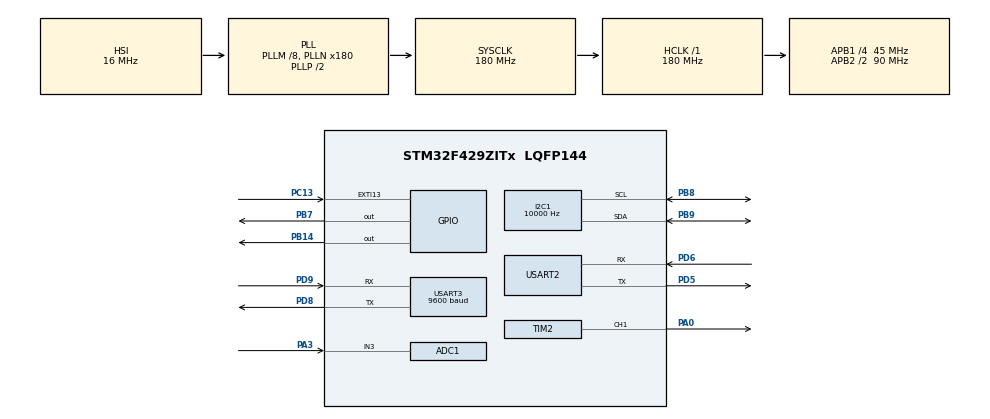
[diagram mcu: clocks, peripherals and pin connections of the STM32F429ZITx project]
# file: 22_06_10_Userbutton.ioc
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ADC1.Channel-0\#ChannelRegularConversion=ADC_CHANNEL_3
ADC1.NbrOfConversionFlag=1
ADC1.Rank-0\#ChannelRegularConversion=1
ADC1.SamplingTime-0\#ChannelRegularConversion=ADC_SAMPLETIME_3CYCLES
ADC1.master=1
I2C1.ClockSpeed=10000
Mcu.Family=STM32F4
Mcu.Name=STM32F429ZITx
Mcu.Package=LQFP144
NVIC.EXTI15_10_IRQn=true\:0\:0\:false\:true\:true\:2\:true\:true\:true
NVIC.PriorityGroup=NVIC_PRIORITYGROUP_4
NVIC.TIM3_IRQn=true\:0\:0\:false\:false\:true\:true\:true\:true
NVIC.USART3_IRQn=true\:0\:0\:false\:true\:true\:1\:true\:true\:true
PA0/WKUP.Signal=S_TIM2_CH1_ETR
PA13.Mode=Serial_Wire
PA13.Signal=SYS_JTMS-SWDIO
PA14.Mode=Serial_Wire
PA14.Signal=SYS_JTCK-SWCLK
PA3.Signal=ADCx_IN3
PB14.Signal=GPIO_Output
PB7.Signal=GPIO_Output
PB8.GPIO_Pu=GPIO_PULLUP
PB8.Mode=I2C
PB8.Signal=I2C1_SCL
PB9.GPIO_Pu=GPIO_PULLUP
PB9.Mode=I2C
PB9.Signal=I2C1_SDA
PC13.GPIO_ModeDefaultEXTI=GPIO_MODE_IT_RISING_FALLING
PC13.Signal=GPXTI13
PC14/OSC32_IN.Mode=LSE-External-Oscillator
PC14/OSC32_IN.Signal=RCC_OSC32_IN
PC15/OSC32_OUT.Mode=LSE-External-Oscillator
PC15/OSC32_OUT.Signal=RCC_OSC32_OUT
PD5.Mode=Asynchronous
PD5.Signal=USART2_TX
PD6.Mode=Asynchronous
PD6.Signal=USART2_RX
PD8.Mode=Asynchronous
PD8.Signal=USART3_TX
PD9.Mode=Asynchronous
PD9.Signal=USART3_RX
ProjectManager.HeapSize=0x200
ProjectManager.StackSize=0x400
ProjectManager.TargetToolchain=STM32CubeIDE
RCC.48MHZClocksFreq_Value=90000000
RCC.AHBFreq_Value=180000000
RCC.APB1CLKDivider=RCC_HCLK_DIV4
RCC.APB1Freq_Value=45000000
RCC.APB1TimFreq_Value=90000000
RCC.APB2CLKDivider=RCC_HCLK_DIV2
RCC.APB2Freq_Value=90000000
RCC.APB2TimFreq_Value=180000000
RCC.CortexFreq_Value=180000000
RCC.HCLKFreq_Value=180000000
RCC.HSE_VALUE=25000000
RCC.HSI_VALUE=16000000
RCC.PLLM=8
RCC.PLLN=180
RCC.RCC_RTC_Clock_Source=RCC_RTCCLKSOURCE_LSE
RCC.RCC_RTC_Clock_SourceVirtual=RCC_RTCCLKSOURCE_LSE
RCC.SYSCLKFreq_VALUE=180000000
RCC.SYSCLKSource=RCC_SYSCLKSOURCE_PLLCLK
RCC.VCOOutputFreq_Value=360000000
RTC.Format=RTC_FORMAT_BIN
RTC.HourFormat=RTC_HOURFORMAT_12
SH.ADCx_IN3.0=ADC1_IN3,IN3
SH.S_TIM2_CH1_ETR.0=TIM2_CH1,PWM Generation1 CH1
TIM2.Channel-PWM\ Generation1\ CH1=TIM_CHANNEL_1
TIM2.CounterMode=TIM_COUNTERMODE_DOWN
TIM2.Period=1000-1
TIM2.Prescaler=180-1
TIM3.Period=900
TIM3.Prescaler=10000
USART2.VirtualMode=VM_ASYNC
USART3.BaudRate=9600
USART3.VirtualMode=VM_ASYNC
VP_RTC_VS_RTC_Activate.Mode=RTC_Enabled
VP_RTC_VS_RTC_Calendar.Mode=RTC_Calendar
VP_TIM2_VS_ClockSourceINT.Mode=Internal
VP_TIM3_VS_ClockSourceINT.Mode=Internal
board=custom

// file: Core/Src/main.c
/* USER CODE BEGIN Header */
/**
 ******************************************************************************
 * @file           : main.c
 * @brief          : Main program body
 ******************************************************************************
 * @attention
 *
 * Copyright (c) 2022 STMicroelectronics.
 * All rights reserved.
 *
 * This software is licensed under terms that can be found in the LICENSE file
 * in the root directory of this software component.
 * If no LICENSE file comes with this software, it is provided AS-IS.
 *
 ******************************************************************************
 */
/* USER CODE END Header */
#include "main.h"
#include "adc.h"
#include "i2c.h"
#include "rtc.h"
#include "tim.h"
#include "usart.h"
#include "gpio.h"

/* USER CODE BEGIN PTD */
typedef struct {
	int time;
	uint8_t level;
} ClickInfoDef;

typedef struct {
	uint8_t f;
	uint8_t h;
	uint8_t m;
	uint8_t s;
} SETTIME;

typedef struct FLAHTIME {
	uint8_t year;
	uint8_t month;
	uint8_t day;
	uint8_t format;
	uint8_t hour;
	uint8_t minutes;
	uint8_t seconds;
	uint8_t alarmFormat;
	uint8_t alarmHour;
	uint8_t alarmMinutes;
	uint8_t alarmSeconds;

} FT;

FT flashTime;
FT flashTime2;
/* USER CODE END PTD */

/* USER CODE BEGIN PD */
//EXTI
#define LONG_CLICK_MIN 700
#define LONG_CLICK_MAX 5000
#define DOUBLE_CLICK_MIN 40
#define DOUBLE_CLICK_MAX 120
//ADC
#define UP_KEY_MIN 0
#define UP_KEY_MAX 15
#define DOWN_KEY_MIN 830
#define DOWN_KEY_MAX 870
#define LEFT_KEY_MIN 1910
#define LEFT_KEY_MAX 1960
#define RIGHT_KEY_MIN 2920
#define RIGHT_KEY_MAX 3010
//LCD
#define LCD_ADDR (0x27 << 1)
#define PIN_RS    (1 << 0)
#define PIN_EN    (1 << 2)
#define BACKLIGHT (1 << 3)
#define LCD_DELAY_MS 5

// flash memory
#define FLASH_USER_START_ADDR   ADDR_FLASH_SECTOR_12   /* Start @ of user Flash area */
/* End @ of user Flash area : sector start address + sector size -1 */
#define FLASH_USER_END_ADDR     ADDR_FLASH_SECTOR_23  +  GetSectorSize(ADDR_FLASH_SECTOR_23) - 1
#define DATA_32                 ((uint32_t)0x00001011) // ?��?��?�� 메모�? 매직 ?���?, 초기 값으�? ?��?�� ?���? ?��?��?�� ?��?�� �? 바꾸?��

#define NOISE 55
// ?��?���? ?��?���? ?��리�? ?��?��진다.
#define VOLUME 300
/* USER CODE END PD */

/* USER CODE BEGIN PV */

uint8_t rx = 0;
char rx_buf[20];
int bufindex = 0;
uint8_t receive_data_type = 0;
char *p;

ClickInfoDef click[3];
int current_time = 0;
int time_interval = 0;
int last_time = 0;

// 0?���? ?��?��?�� ON, 1?���? OFF
int alarmMode = 1;
uint8_t longClick = 0;
int ADC_value;
uint8_t rx;
uint8_t lcd_display_number = 0;
uint8_t mode = 1;
RTC_TimeTypeDef sTime = { 0 };
RTC_DateTypeDef sDate = { 0 };
char buf[25]; // printf
char temp[25]; // set Time

char ampm[2][3] = { "AM", "PM" };
char alarmSet[2][4] = { "ON ", "OFF" };

// ?��?��?�� 켜졌?���? Display1_line1?�� A?���? ?��?��?��?��.
char alarmOnOff[2][2] = { "A", " " };

int ADC_flag = 0;

// ---------------------------------------------------------------------------------
SETTIME st;
SETTIME at;

uint16_t bicycle[] = { E, G, G, M, E, G, G, M, A, A, A, A, A, M }; //, G, G, M, A, A, A, A, A};
uint16_t interval[] = { 125, 125, 250, 250, 125, 125, 250, 0, 125, 125, 125,
		125, 375, 625 };
uint16_t mute[] = { 125, 125, 0, 0, 125, 125, 0, 0, 125, 125, 125, 125, 125, 0 };

uint16_t bicycle_2[] = { G, G, G, G, F, F, F, F, E, E, E, E, E, M };
uint16_t interval_2[] = { 125, 125, 125, 125, 125, 125, 125, 125, 125, 125, 125,
		125, 375, 625 };
uint16_t mute_2[] = { 125, 125, 125, 125, 125, 125, 125, 125, 125, 125, 125,
		125, 125, 0 };

uint16_t bicycle_3[] = { E, G, G, G, E, G, G, M, A, A, E, E, G, M };
uint16_t interval_3[] = { 125, 125, 125, 125, 125, 125, 250, 250, 200, 75, 125,
		125, 375, 625 };
uint16_t mute_3[] = { 125, 125, 125, 125, 125, 125, 0, 0, 125, 50, 75, 125, 125,
		125, 0 };

uint16_t bicycle_4[] = { F, F, F, F, E, E, E, E, D, D, G, G, C, M };
uint16_t interval_4[] = { 125, 125, 125, 125, 125, 125, 125, 125, 125, 125, 125,
		125, 375, 625 };
uint16_t mute_4[] = { 125, 125, 125, 125, 125, 125, 125, 125, 125, 125, 125,
		125, 125, 0 };

uint8_t melody_number;

uint8_t bell_length = sizeof(bicycle) / sizeof(uint16_t);
uint8_t bell_length_2 = sizeof(bicycle_2) / sizeof(uint16_t);
uint8_t bell_length_3 = sizeof(bicycle_3) / sizeof(uint16_t);
uint8_t bell_length_4 = sizeof(bicycle_4) / sizeof(uint16_t);

uint16_t underworld_melody[] = { C4, C5, A3, A4, AS3, AS4, M, M,
		C4, C5, A3, A4, AS3, AS4, M, M, F3, F4, D3, D4, DS3, DS4, M, M,
		F3, F4, D3, D4, DS3, DS4, M, M, DS4, CS4, D4, CS4, DS4, DS4, GS3,
		G3, CS4, C4, FS4, F4, E3, AS4, A4, GS4, DS4, B3, AS3, A3, GS3, M, M, M };
//Underwolrd tempo
uint16_t underworld_tempo[] = { 12, 12, 12, 12, 12, 12, 6, 3, 12, 12, 12, 12,
		12, 12, 6, 3, 12, 12, 12, 12, 12, 12, 6, 3, 12, 12, 12, 12, 12, 12, 6,
		6, 18, 18, 18, 6, 6, 6, 6, 6, 6, 18, 18, 18, 18, 18, 18, 10, 10, 10, 10,
		10, 10, 3, 3, 3 };

uint8_t underworld_length = sizeof(underworld_melody) / sizeof(uint16_t);

// flash memory ---------------------------------------------------
static FLASH_EraseInitTypeDef EraseInitStruct;
static uint32_t GetSector(uint32_t Address);

uint32_t FirstSector = 0, NbOfSectors = 0;
uint32_t Address = 0, SECTORError = 0;
__IO uint32_t data32 = 0, MemoryProgramStatus = 0;

/* USER CODE END PV */

void SystemClock_Config(void);
static void MX_NVIC_Init(void);
/* USER CODE BEGIN PFP */
void HAL_GPIO_EXTI_Callback(uint16_t GPIO_Pin);
void HAL_UART_RxCpltCallback(UART_HandleTypeDef *huart);
void HAL_TIM_PeriodElapsedCallback(TIM_HandleTypeDef *htim);

void Ready_Receive_IT();
void Set_receive_datas();

//LCD
void I2C_Scan();
void loop();
void init();
void LCD_SendString(uint8_t lcd_addr, char *str);
void LCD_Init(uint8_t lcd_addr);
void LCD_SendCommand(uint8_t lcd_addr, uint8_t cmd);
void LCD_SendData(uint8_t lcd_addr, uint8_t data);
HAL_StatusTypeDef LCD_SendInternal(uint8_t lcd_addr, uint8_t data, uint8_t flags);

void AdcSwitch(uint8_t *adc_point, int *location);
void bufferState();
void SetTimeUp(const int *location);

void SaveAlarm();
void SetClock();

void PlayToAlarm();
void Bicyclemelody();
void underworld();
void SaveMelody();

void MF_Init_flash();
void SetUpflash();

void Display0_line1();
void Dispaly0_line2();
void Display1_line1();
void Display1_line2();
void Display2_line1();
void Display2_line2();
void Display3_line1();
void Display3_line2(uint8_t *num);
void Display3_ADC_switch_select_melody_number(uint8_t *num);
/* USER CODE END PFP */

/* USER CODE BEGIN 0 */
/*int __io_putchar(int ch) {
	HAL_UART_Transmit(&huart3, (uint8_t*)&ch, 1, 100);
	return ch;
}*/
/* USER CODE END 0 */

int main(void)
{
  /* USER CODE BEGIN 1 */
  // 커서?�� ?��치�?? ???��?�� ?��?�� 구간?�� 건너?���? ?��?�� �??��
  int location = 0;
  // LCD?��?�� 붙�? ADC 버튼?�� 중복?��?�� ?��?���??�� �? 방�??���? ?��?�� �??��
  uint8_t adc_point = 0;
  /* USER CODE END 1 */

  /* MCU Configuration--------------------------------------------------------*/

  /* Reset of all peripherals, Initializes the Flash interface and the Systick. */
  HAL_Init();

  /* Configure the system clock */
  SystemClock_Config();

  /* Initialize all configured peripherals */
  MX_GPIO_Init();
  MX_RTC_Init();
  MX_USART3_UART_Init();
  MX_TIM3_Init();
  MX_ADC1_Init();
  MX_USART2_UART_Init();
  MX_I2C1_Init();
  MX_TIM2_Init();

  /* Initialize interrupts */
  MX_NVIC_Init();
  /* USER CODE BEGIN 2 */
  /* MCU Configuration--------------------------------------------------------*/
  /* Reset of all peripherals, Initializes the Flash interface and the Systick. */
  HAL_Init();
  /* USER CODE BEGIN Init */
  /* USER CODE END Init */
  /* Configure the system clock */
  SystemClock_Config();
  /* USER CODE BEGIN SysInit */
  /* USER CODE END SysInit */
  /* Initialize all configured peripherals */
  MX_GPIO_Init();
  MX_RTC_Init();
  MX_USART3_UART_Init();
  MX_TIM3_Init();
  MX_ADC1_Init();
  MX_USART2_UART_Init();
  MX_I2C1_Init();
  MX_TIM2_Init();
  /* Initialize interrupts */
  MX_NVIC_Init();
  /* USER CODE BEGIN 2 */

  /* USER CODE BEGIN Init */
  MF_Init_flash();
  // LCD 초기?�� ?��?��
  init();
  HAL_TIM_Base_Init(&htim3);
  HAL_TIM_Base_Start_IT(&htim3);
  /* USER CODE END Init */

  at.f = flashTime.alarmFormat;
  at.h = flashTime.alarmHour;
  at.m = flashTime.alarmMinutes;
  at.s = flashTime.alarmSeconds;

  sDate.Year = 22;
  sDate.Month = 6;
  sDate.Date = 20;
  sTime.TimeFormat = 0;
  sTime.Hours = 12;

  HAL_RTC_SetTime(&hrtc, &sTime, RTC_FORMAT_BIN);
  HAL_RTC_SetDate(&hrtc, &sDate, RTC_FORMAT_BIN);
  memset(buf, 0, sizeof(buf));
  memset(rx_buf, 0, sizeof(rx_buf));
  HAL_UART_Receive_IT(&huart3, &rx, 1);
  /* USER CODE END 2 */

  /* Infinite loop */
  while (1) {

    /* USER CODE BEGIN 3 */
	  if (lcd_display_number == 0) {
		  // 커서 ?���? ?��?�� ************** cursor *************************************
		  bufferState();
		  location = 0;
		  //********************* Display ******************************************
		  while (lcd_display_number == 0) {
			  Display0_line1();
			  Dispaly0_line2();
			  Set_receive_datas();
		  //************************************************************************
		  // ?��?��?�� ?���? ?�� longClick ?���? 종료?�� ?�� ?��?��.
			  if (alarmMode == 0) {
				  if (at.f == sTime.TimeFormat) {
					  if (at.h == sTime.Hours && at.m == sTime.Minutes && at.s == sTime.Seconds) {
						  alarmMode = 1;
						  while (longClick == 0) {
							  PlayToAlarm();
						  }
						  longClick = 0;
		    			  Display0_line1();
					  }
				  }
			  }
		    //**********************************************************************
		  }
	  } //set Time
	  else if (lcd_display_number == 1) {
		  //********************* Display ******************************************
		  Display1_line1();
		  Display1_line2();
		  //********************** cursor ******************************************
		  bufferState();
		  location = 0;
		  //***********************st 초기?�� *****************************************
		  st.f = sTime.TimeFormat;
		  st.h = sTime.Hours;
		  st.m = sTime.Minutes;
		  st.s = sTime.Seconds;
		  //************************************************************************
		  longClick = 0;
		  while (lcd_display_number == 1) {
			  AdcSwitch(&adc_point, &location);
			  SetClock();
			  Set_receive_datas();
		  }
		 //*************************************************************************
		} //alarm
		else if (lcd_display_number == 2) {
			//********************* Display ****************************************
			Display2_line1();
			Display2_line2();
			//********************** cursor ****************************************
			bufferState();
			location = 0;
			//***********************st 초기?�� ***************************************
			st.f = at.f;
			st.h = at.h;
			st.m = at.m;
			st.s = at.s;
			//**********************************************************************
			longClick = 0;
			while (lcd_display_number == 2) {
				AdcSwitch(&adc_point, &location);
				SaveAlarm();
			}
		}
		else if (lcd_display_number == 3) {
			//********************* Display *****************************************
			Display3_line1();
			while(lcd_display_number == 3){
				Display3_line2(&melody_number);
				SaveMelody();
				Set_receive_datas();
			}
		}
		else if (lcd_display_number > 3)
			lcd_display_number = 0;
	}
  /* USER CODE END 3 */
}

void SystemClock_Config(void)
{
  RCC_OscInitTypeDef RCC_OscInitStruct = {0};
  RCC_ClkInitTypeDef RCC_ClkInitStruct = {0};

  /** Configure the main internal regulator output voltage
  */
  __HAL_RCC_PWR_CLK_ENABLE();
  __HAL_PWR_VOLTAGESCALING_CONFIG(PWR_REGULATOR_VOLTAGE_SCALE1);

  /** Initializes the RCC Oscillators according to the specified parameters
  * in the RCC_OscInitTypeDef structure.
  */
  RCC_OscInitStruct.OscillatorType = RCC_OSCILLATORTYPE_HSI|RCC_OSCILLATORTYPE_LSE;
  RCC_OscInitStruct.LSEState = RCC_LSE_ON;
  RCC_OscInitStruct.HSIState = RCC_HSI_ON;
  RCC_OscInitStruct.HSICalibrationValue = RCC_HSICALIBRATION_DEFAULT;
  RCC_OscInitStruct.PLL.PLLState = RCC_PLL_ON;
  RCC_OscInitStruct.PLL.PLLSource = RCC_PLLSOURCE_HSI;
  RCC_OscInitStruct.PLL.PLLM = 8;
  RCC_OscInitStruct.PLL.PLLN = 180;
  RCC_OscInitStruct.PLL.PLLP = RCC_PLLP_DIV2;
  RCC_OscInitStruct.PLL.PLLQ = 4;
  if (HAL_RCC_OscConfig(&RCC_OscInitStruct) != HAL_OK)
  {
    Error_Handler();
  }

  /** Activate the Over-Drive mode
  */
  if (HAL_PWREx_EnableOverDrive() != HAL_OK)
  {
    Error_Handler();
  }

  /** Initializes the CPU, AHB and APB buses clocks
  */
  RCC_ClkInitStruct.ClockType = RCC_CLOCKTYPE_HCLK|RCC_CLOCKTYPE_SYSCLK
                              |RCC_CLOCKTYPE_PCLK1|RCC_CLOCKTYPE_PCLK2;
  RCC_ClkInitStruct.SYSCLKSource = RCC_SYSCLKSOURCE_PLLCLK;
  RCC_ClkInitStruct.AHBCLKDivider = RCC_SYSCLK_DIV1;
  RCC_ClkInitStruct.APB1CLKDivider = RCC_HCLK_DIV4;
  RCC_ClkInitStruct.APB2CLKDivider = RCC_HCLK_DIV2;

  if (HAL_RCC_ClockConfig(&RCC_ClkInitStruct, FLASH_LATENCY_5) != HAL_OK)
  {
    Error_Handler();
  }
}

/**
  * @brief NVIC Configuration.
  * @retval None
  */
static void MX_NVIC_Init(void)
{
  /* USART3_IRQn interrupt configuration */
  HAL_NVIC_SetPriority(USART3_IRQn, 0, 0);
  HAL_NVIC_EnableIRQ(USART3_IRQn);
  /* EXTI15_10_IRQn interrupt configuration */
  HAL_NVIC_SetPriority(EXTI15_10_IRQn, 0, 0);
  HAL_NVIC_EnableIRQ(EXTI15_10_IRQn);
}

/* USER CODE BEGIN 4 */
void MF_Init_flash()
{
	HAL_FLASH_Unlock();

	if (*((uint32_t*) 0x08104000) == DATA_32) {

		FirstSector = GetSector(FLASH_USER_START_ADDR);
		NbOfSectors = 1;
		EraseInitStruct.TypeErase = FLASH_TYPEERASE_SECTORS;
		EraseInitStruct.VoltageRange = FLASH_VOLTAGE_RANGE_3;
		EraseInitStruct.Sector = FirstSector;
		EraseInitStruct.NbSectors = NbOfSectors;

		flashTime.alarmFormat = *((uint32_t*) 0x08100014);
		flashTime.alarmHour = *((uint32_t*) 0x08100018);
		flashTime.alarmMinutes = *((uint32_t*) 0x0810001C);
		flashTime.alarmSeconds = *((uint32_t*) 0x08100020);
		alarmMode = *((uint32_t*) 0x08100024);
		melody_number = *((uint32_t*) 0x08100028);

	} else {

		FirstSector = GetSector(FLASH_USER_START_ADDR);
		// flash 메모리의 key 값�? ?���? ?��?��?�� ???��?��?��?��?��. ?��?��?�� ?��?�� ?�� ?��?�� ?��?�� 2�?
		NbOfSectors = 2;
		EraseInitStruct.TypeErase = FLASH_TYPEERASE_SECTORS;
		EraseInitStruct.VoltageRange = FLASH_VOLTAGE_RANGE_3;
		EraseInitStruct.Sector = FirstSector;
		EraseInitStruct.NbSectors = NbOfSectors;

		if (HAL_FLASHEx_Erase(&EraseInitStruct, &SECTORError) != HAL_OK) {

		}

		// key 값이 ???��?��?���? ?��문에 ?��?��?�� ?��?��?�� 1개로 바꾼?��.
		NbOfSectors = 1;
		EraseInitStruct.NbSectors = NbOfSectors;

		Address = ADDR_FLASH_SECTOR_12;

		HAL_FLASH_Program(FLASH_TYPEPROGRAM_WORD, ((uint32_t) 0x08104000),
				((uint32_t) DATA_32));

		HAL_FLASH_Program(FLASH_TYPEPROGRAM_WORD, ((uint32_t) 0x08100014), 0);
		HAL_FLASH_Program(FLASH_TYPEPROGRAM_WORD, ((uint32_t) 0x08100018), 12);
		HAL_FLASH_Program(FLASH_TYPEPROGRAM_WORD, ((uint32_t) 0x0810001C), 0);
		HAL_FLASH_Program(FLASH_TYPEPROGRAM_WORD, ((uint32_t) 0x08100020), 0);

		HAL_FLASH_Program(FLASH_TYPEPROGRAM_WORD, ((uint32_t) 0x08100024), 1); // alarmMode off

		HAL_FLASH_Program(FLASH_TYPEPROGRAM_WORD, ((uint32_t) 0x08100028), 1);

		flashTime.alarmFormat = *((uint32_t*) 0x08100014);
		flashTime.alarmHour = *((uint32_t*) 0x08100018);
		flashTime.alarmMinutes = *((uint32_t*) 0x0810001C);
		flashTime.alarmSeconds = *((uint32_t*) 0x08100020);
		alarmMode = *((uint32_t*) 0x08100024);
		melody_number = *((uint32_t*) 0x08100028);
	}

	HAL_FLASH_Lock();
}

void Display0_line1()
{
	sprintf(buf, " %s   LCD Clock  ", alarmOnOff[alarmMode]);
	LCD_SendCommand(LCD_ADDR, 0b10000000);
	LCD_SendString(LCD_ADDR, buf);
}
void Dispaly0_line2()
{
	HAL_RTC_GetTime(&hrtc, &sTime, RTC_FORMAT_BIN);
	HAL_RTC_GetDate(&hrtc, &sDate, RTC_FORMAT_BIN);
	//HAL_UART_Transmit(&huart3, (uint8_t*) buf, sizeof(buf), 2000);
	sprintf(buf, "%s %02d:%02d:%02d     ", ampm[sTime.TimeFormat],
			sTime.Hours, sTime.Minutes, sTime.Seconds);
	printf("\r\n");
	LCD_SendCommand(LCD_ADDR, 0b11000000);
	LCD_SendString(LCD_ADDR, buf);
}

void Display1_line1()
{
	sprintf(buf, " %s   Set Time   ", alarmOnOff[alarmMode]);
	LCD_SendCommand(LCD_ADDR, 0b10000000);
	LCD_SendString(LCD_ADDR, buf);
}
void Display1_line2()
{
	sprintf(buf, "%s %02d:%02d:%02d     ", ampm[sTime.TimeFormat],
			sTime.Hours, sTime.Minutes, sTime.Seconds);
	LCD_SendCommand(LCD_ADDR, 0b11000000);
	LCD_SendString(LCD_ADDR, buf);
}
void Display2_line1()
{
	sprintf(buf, " %s   alarm      ", alarmOnOff[alarmMode]);
	LCD_SendCommand(LCD_ADDR, 0b10000000);
	LCD_SendString(LCD_ADDR, buf);
}
void Display2_line2()
{
	sprintf(buf, "%s %02d:%02d:%02d %s ", ampm[at.f], at.h, at.m, at.s,
			alarmSet[alarmMode]);
	LCD_SendCommand(LCD_ADDR, 0b11000000);
	LCD_SendString(LCD_ADDR, buf);
}

void Display3_line1()
{
	memset(buf, 0, sizeof(buf));
	sprintf(buf, " select melody  ");
	LCD_SendCommand(LCD_ADDR, 0b10000000);
	LCD_SendString(LCD_ADDR, buf);
}

void Display3_line2(uint8_t *num) // melodyNumber
{
	memset(buf, 0, sizeof(buf));

	Display3_ADC_switch_select_melody_number(num);

	if(*num == 1)
		sprintf(buf, "<-> 1.Bicycle    ");
	else if(*num == 2)
		sprintf(buf, "<-> 2.underworld ");

	LCD_SendCommand(LCD_ADDR, 0b11000000);
	LCD_SendString(LCD_ADDR, buf);
}

void Display3_ADC_switch_select_melody_number(uint8_t *num)
{
	if(ADC_flag == 3)
	{
		*num = 1;
	}
	else if(ADC_flag == 4)
	{
		*num = 2;
	}
}

void bufferState() {
	if (lcd_display_number == 2 || lcd_display_number == 1) {
		LCD_SendCommand(LCD_ADDR, 0b11000000);
		LCD_SendCommand(LCD_ADDR, 0b00001111);
	} else
		LCD_SendCommand(LCD_ADDR, 0b00001110);
}
// SET+T+A+00+00+00\n
// SET+A+P+00+00+00\n
// SET+M+0\n

void Set_receive_datas() {
	if (receive_data_type != 0) {
		if (receive_data_type == 1) {
			if (*(p + 6) == 'A') {
				int format = 0;
				sTime.TimeFormat = format;
			} else if (*(p + 6) == 'P') {
				int format = 1;
				sTime.TimeFormat = format;
			}
			int hours_1 = *(p + 8) - '0';
			int hours_2 = *(p + 9) - '0';
			sTime.Hours = (hours_1 * 10) + hours_2;

			int minutes_1 = *(p + 11) - '0';
			int minutes_2 = *(p + 12) - '0';
			sTime.Minutes = (minutes_1 * 10) + minutes_2;

			int seconds_1 = *(p + 14) - '0';
			int seconds_2 = *(p + 15) - '0';
			sTime.Seconds = (seconds_1 * 10) + seconds_2;

			HAL_RTC_SetTime(&hrtc, &sTime, RTC_FORMAT_BIN);
			HAL_RTC_SetDate(&hrtc, &sDate, RTC_FORMAT_BIN);

		} else if (receive_data_type == 2) {
			if (*(p + 6) == 'A') {
				int format = 0;
				at.f = format;
			} else if (*(p + 6) == 'P') {
				int format = 1;
				at.f = format;
			}
			int hours_1 = *(p +8) - '0';
			int hours_2 = *(p +9) - '0';
			at.h = (hours_1 * 10) + hours_2;

			int minutes_1 = *(p + 11) - '0';
			int minutes_2 = *(p + 12) - '0';
			at.m = (minutes_1 * 10) + minutes_2;

			int seconds_1 = *(p + 14) - '0';
			int seconds_2 = *(p + 15) - '0';
			at.s = (seconds_1 * 10) + seconds_2;

			SetUpflash();

			alarmMode = 0;

		} else if (receive_data_type == 3) {
			int melody = *(p + 6) - '0';
			if (melody == 1 || melody == 2){
				melody_number = melody;
				SetUpflash();
			}
		}
		Ready_Receive_IT();
	}
}

void Ready_Receive_IT()
{
	receive_data_type = 0;
	memset(rx_buf, 0, sizeof(rx_buf));
	bufindex = 0;
	HAL_UART_Receive_IT(&huart3, &rx, 1);
}

void HAL_UART_RxCpltCallback(UART_HandleTypeDef *huart){
	if (huart->Instance == USART3) {
		// SET+T+A+00+00+00\n
		// SET+A+P+00+00+00\n
		// SET+M+0\n
		if(rx == '\n')
		{
			p = strstr((char*)rx_buf, "SET");
			if(p != 0)
			{
				if (*(p + 4) == 'T')
				{
					receive_data_type = 1;
				}
				else if(*(p + 4) == 'A')
				{
					receive_data_type = 2;
				}
				else if(*(p + 4) == 'M')
				{
					receive_data_type = 3;
				}
				else
				{
					Ready_Receive_IT();
				}
			}
			else
				Ready_Receive_IT();
		}
		else if (bufindex < 19)
		{
			rx_buf[bufindex++] = rx;
			HAL_UART_Receive_IT(&huart3, &rx, 1);
		}

	}
}

void HAL_GPIO_EXTI_Callback(uint16_t GPIO_Pin) {
	GPIO_PinState pin;

	if (GPIO_Pin == GPIO_PIN_13) {
		current_time = HAL_GetTick();
		time_interval = current_time - last_time;
		last_time = current_time;

		pin = HAL_GPIO_ReadPin(GPIOC, GPIO_PIN_13);

		if (time_interval <= NOISE) {
			printf("Noise %d, %d\r\n", pin, time_interval);
		} else {

			click[1].time = click[0].time;
			click[1].level = click[0].level;

			click[0].time = time_interval;
			click[0].level = pin;
		}
		if (click[0].level == GPIO_PIN_RESET && click[0].time >= LONG_CLICK_MIN) // long click
		{
			printf("\r\nLong Key\r\n");
			longClick = 1;

		} else if (click[0].level == GPIO_PIN_RESET
				&& click[1].level == GPIO_PIN_SET) {
			printf("\r\nSelect Key, %d\r\n", click[0].time);
			lcd_display_number++;
		}
	}
}

void HAL_TIM_PeriodElapsedCallback(TIM_HandleTypeDef *htim) {
	if (htim->Instance == TIM3) {
		HAL_ADC_Start(&hadc1);
		ADC_value = HAL_ADC_GetValue(&hadc1);
		printf("ADC_value = %d\r\n", ADC_value);
		HAL_ADC_Stop(&hadc1);
		ADC_flag = 0;
		//***************** UP ***********************************************
		if ((ADC_value <= UP_KEY_MAX) ) {
			ADC_flag = 1;
		}
		//***************** DOWN ***********************************************
		else if ((ADC_value >= DOWN_KEY_MIN && ADC_value <= DOWN_KEY_MAX) ) {
			ADC_flag = 2;
		}
		//****************** LEFT **********************************************
		else if ((ADC_value >= LEFT_KEY_MIN && ADC_value <= LEFT_KEY_MAX)) {
			ADC_flag = 3;
		}
		//***************** RIGHT **********************************************
		else if ((ADC_value >= RIGHT_KEY_MIN && ADC_value <= RIGHT_KEY_MAX)) {
			ADC_flag = 4;
		}
	}
}

void I2C_Scan() {
	char info[] = "Scanning I2C bus...\r\n";
	HAL_UART_Transmit(&huart2, (uint8_t*) info, strlen(info), HAL_MAX_DELAY);

	HAL_StatusTypeDef res;
	for (uint16_t i = 0; i < 128; i++) {
		res = HAL_I2C_IsDeviceReady(&hi2c1, i << 1, 1, 10);
		if (res == HAL_OK) {
			char msg[64];
			snprintf(msg, sizeof(msg), "0x%02X", i);
			HAL_UART_Transmit(&huart2, (uint8_t*) msg, strlen(msg),
			HAL_MAX_DELAY);
		} else {
			HAL_UART_Transmit(&huart2, (uint8_t*) ".", 1, HAL_MAX_DELAY);
		}
	}

	HAL_UART_Transmit(&huart2, (uint8_t*) "\r\n", 2, HAL_MAX_DELAY);
}

HAL_StatusTypeDef LCD_SendInternal(uint8_t lcd_addr, uint8_t data,
		uint8_t flags) {
	HAL_StatusTypeDef res;
	for (;;) {
		res = HAL_I2C_IsDeviceReady(&hi2c1, lcd_addr, 1, HAL_MAX_DELAY);
		if (res == HAL_OK)
			break;
	}

	uint8_t up = data & 0xF0;
	uint8_t lo = (data << 4) & 0xF0;

	uint8_t data_arr[4];
	data_arr[0] = up | flags | BACKLIGHT | PIN_EN;
	data_arr[1] = up | flags | BACKLIGHT;
	data_arr[2] = lo | flags | BACKLIGHT | PIN_EN;
	data_arr[3] = lo | flags | BACKLIGHT;

	res = HAL_I2C_Master_Transmit(&hi2c1, lcd_addr, data_arr, sizeof(data_arr),
	HAL_MAX_DELAY);
	HAL_Delay(LCD_DELAY_MS);
	return res;
}

void LCD_SendCommand(uint8_t lcd_addr, uint8_t cmd) {
	LCD_SendInternal(lcd_addr, cmd, 0);
}

void LCD_SendData(uint8_t lcd_addr, uint8_t data) {
	LCD_SendInternal(lcd_addr, data, PIN_RS);
}

void LCD_Init(uint8_t lcd_addr) {
	// 4-bit mode, 2 lines, 5x7 format
	LCD_SendCommand(lcd_addr, 0b00110000);
	// display & cursor home (keep this!)
	LCD_SendCommand(lcd_addr, 0b00000010);
	// display on, right shift, underline off, blink off
	LCD_SendCommand(lcd_addr, 0b00001100);
	// clear display (optional here)
	LCD_SendCommand(lcd_addr, 0b00000001);
}

void LCD_SendString(uint8_t lcd_addr, char *str) {
	while (*str) {
		LCD_SendData(lcd_addr, (uint8_t) (*str));
		str++;
	}
}

void init() {
	I2C_Scan();
	LCD_Init(LCD_ADDR);
}

void loop() {
	HAL_Delay(100);
}
void SaveAlarm() {
	/***************** Save 기능 **************************/
	if (longClick == 1) {
		at.f = st.f;
		at.h = st.h;
		at.m = st.m;
		at.s = st.s;
		longClick = 0;
		lcd_display_number = 0;
		SetUpflash();
	}
}

void SaveMelody()
{
	if (longClick == 1) {
		longClick = 0;
		lcd_display_number = 0;
		SetUpflash();
	}
}

void SetClock() {

	/***************** Save 기능 **************************/
	if (longClick == 1) {
		sTime.TimeFormat = st.f;
		sTime.Hours = st.h;
		sTime.Minutes = st.m;
		sTime.Seconds = st.s;

		HAL_RTC_SetTime(&hrtc, &sTime, RTC_FORMAT_BIN);
		HAL_RTC_SetDate(&hrtc, &sDate, RTC_FORMAT_BIN);

		longClick = 0;
		lcd_display_number = 0;
	}
}
void SetTimeDown(const int *location) {
	if (*location == 0) {
		st.f ^= 1;
	}
	else if (*location == 3){
		if(st.h >= 10) st.h -= 10;
		else if (st.h == 0)
			st.h = 10;
		else
			st.h = 0;
	}
	else if (*location == 4) {
		if (st.h == 0) st.h = 12;
		else st.h -= 1;
	}
	else if (*location == 6) {
		if (st.m < 10) st.m += 50;
		else st.m -= 10;
	}
	else if (*location == 7) {
		if (st.m % 10 == 0) st.m += 9;
		else st.m--;
	}
	else if (*location == 9) {
		if (st.s < 10) st.s += 50;
		else st.s -= 10;
	}
	else if (*location == 10) {
		if (st.s % 10 == 0) st.s += 9;
		else st.s--;
	}
	else if (*location == 12 && lcd_display_number == 2)
		alarmMode ^= 1;

	//-------------------------------------------------------
	char format[3];
	if (st.f == 0)
		strcpy(format, "AM");
	else if (st.f == 1)
		strcpy(format, "PM");
	/****************** Display *************************************/
	if (lcd_display_number == 1)
		sprintf(temp, "%s %02d:%02d:%02d     ", format, st.h, st.m, st.s);
	else if (lcd_display_number == 2)
		sprintf(temp, "%s %02d:%02d:%02d %s  ", format, st.h, st.m, st.s,
				alarmSet[alarmMode]);
	LCD_SendCommand(LCD_ADDR, 0b11000000);
	LCD_SendString(LCD_ADDR, temp);
	/***************** SetTime ?�� 커서 ?��?��리기 **************************/
	LCD_SendCommand(LCD_ADDR, 0b11000000);
	for (int j = 0; j < *location; j++) {
		LCD_SendCommand(LCD_ADDR, 0b00010100);
	}
}

void SetTimeUp(const int *location) {
	if (*location == 0) {
		st.f ^= 1;
	}
	else if (*location == 3) {
		if(st.h > 2 && st.h != 12)
			st.h = 12;
		else if (st.h == 12)
			st.h = 0;
		else
			st.h += 10;
	}
	else if (*location == 4) {
		if (st.h == 12)
			st.h = 0;
		else
			st.h += 1;

	} else if (*location == 6) {
		if (st.m >= 50)
			st.m -= 50;
		else if (st.m < 50) {
			st.m += 10;
		}
	} else if (*location == 7) {
		if (st.m % 10 == 9)
			st.m -= 9;
		else
			st.m++;
	} else if (*location == 9) {
		if (st.s >= 50)
			st.s -= 50;
		else if (st.s < 50)
			st.s += 10;
	} else if (*location == 10) {
		if (st.s % 10 == 9)
			st.s -= 9;
		else
			st.s++;
	} else if (*location == 12 && lcd_display_number == 2)
		alarmMode ^= 1;
	char format[3];
	if (st.f == 0)
		strcpy(format, "AM");
	else if (st.f == 1)
		strcpy(format, "PM");
/****************** Display *************************************/
	if (lcd_display_number == 1)
		sprintf(temp, "%s %02d:%02d:%02d     ", format, st.h, st.m, st.s);
	else if (lcd_display_number == 2)
		sprintf(temp, "%s %02d:%02d:%02d %s  ", format, st.h, st.m, st.s,
				alarmSet[alarmMode]);
	LCD_SendCommand(LCD_ADDR, 0b11000000);
	LCD_SendString(LCD_ADDR, temp);

	/***************** SetTime ?�� 커서 ?��?��리기 **************************/
	LCD_SendCommand(LCD_ADDR, 0b11000000);
	for (int j = 0; j < *location; j++) {
		LCD_SendCommand(LCD_ADDR, 0b00010100);
	}
}

void AdcSwitch(uint8_t *adc_point, int *location) {
	//***************** UP *************************************************
	if (ADC_flag == 1 && *adc_point != 1) {
		*adc_point = 1;
		printf("ADC_value = %d\r\n", ADC_value);
		SetTimeUp(location);
	}
	//***************** DOWN ***********************************************
	else if (ADC_flag == 2 && *adc_point != 2) {
		*adc_point = 2;
		printf("ADC_value = %d\r\n", ADC_value);
		SetTimeDown(location);
	}
	//****************** LEFT **********************************************
	else if (ADC_flag == 3  && *adc_point != 3) {
		printf("ADC_value = %d\r\n", ADC_value);
		*adc_point = 3;
		//****************** LEFT **********************************************
		if (*location <= 0) {
			for (int r = 0; r < 12; r++) {
				LCD_SendCommand(LCD_ADDR, 0b00010100);
			}
			*location = 12;
		}
		else {
			if (*location == 3) {
				LCD_SendCommand(LCD_ADDR, 0b00010000);
				LCD_SendCommand(LCD_ADDR, 0b00010000);
				(*location) -= 2;
			}
			if (*location == 6 || *location == 9 || *location == 12) {
				LCD_SendCommand(LCD_ADDR, 0b00010000);
				(*location) -= 1;
			}
			LCD_SendCommand(LCD_ADDR, 0b00010000);
			(*location)--;
			printf("2||%d\r\n", *adc_point );
		}
	}
	//***************** RIGHT **********************************************
	else if (ADC_flag == 4  && *adc_point != 4){
		printf("ADC_value = %d\r\n", ADC_value);
		*adc_point = 4;
		//***************** RIGHT **********************************************
		if (12 <= *location ) {
			for (int l = 12; l > 0; l--) {
				LCD_SendCommand(LCD_ADDR, 0b00010000);
			}
			*location = 0;
		} else {
			if (*location == 0) {
				LCD_SendCommand(LCD_ADDR, 0b00010100);
				LCD_SendCommand(LCD_ADDR, 0b00010100);
				(*location) += 2;
			}
			if (*location == 4 || *location == 7 || *location == 10) {
				LCD_SendCommand(LCD_ADDR, 0b00010100);
				(*location) += 1;
			}
			LCD_SendCommand(LCD_ADDR, 0b00010100);
			(*location)++;

		}
	}
	if (ADC_value > RIGHT_KEY_MAX  && *adc_point != 0) {
		*adc_point = 0;
	}
//**********************************************************************

}

void Bicyclemelody() {
	HAL_TIM_PWM_Start(&htim2, TIM_CHANNEL_1);
	for (int i = 0; i < bell_length; i++) {
		if (longClick == 0) {
			TIM2->ARR = bicycle[i];
			TIM2->CCR1 = TIM2->ARR / VOLUME;
			HAL_Delay(interval[i]);
			TIM2->CCR1 = 0;
			HAL_Delay(mute[i]);
		}
	}
	for (int i = 0; i < bell_length_2; i++) {
		if (longClick == 0) {
			TIM2->ARR = bicycle_2[i];
			TIM2->CCR1 = TIM2->ARR / VOLUME;
			HAL_Delay(interval_2[i]);
			TIM2->CCR1 = 0;
			HAL_Delay(mute_2[i]);
		}
	}
	for (int i = 0; i < bell_length_3; i++) {
		if (longClick == 0) {
			TIM2->ARR = bicycle_3[i];
			TIM2->CCR1 = TIM2->ARR / VOLUME;
			HAL_Delay(interval_3[i]);
			TIM2->CCR1 = 0;
			HAL_Delay(mute_3[i]);
		}
	}
	for (int i = 0; i < bell_length_4; i++) {
		if (longClick == 0) {
			TIM2->ARR = bicycle_4[i];
			TIM2->CCR1 = TIM2->ARR / VOLUME;
			HAL_Delay(interval_4[i]);
			TIM2->CCR1 = 0;
			HAL_Delay(mute_4[i]);
		}
	}
	HAL_TIM_PWM_Stop(&htim2, TIM_CHANNEL_1);
}

void underworld() {
	HAL_TIM_PWM_Start(&htim2, TIM_CHANNEL_1);
	if (longClick == 0) {
		for (int i = 0; i < 10; i++) {
			TIM2->ARR = underworld_melody[i];
			TIM2->CCR1 = TIM2->ARR / VOLUME;
			HAL_Delay(1500 / underworld_tempo[i]);
		}
	}
	if (longClick == 0) {
		for (int i = 10; i < 20; i++) {
			TIM2->ARR = underworld_melody[i];
			TIM2->CCR1 = TIM2->ARR / VOLUME;
			HAL_Delay(1500 / underworld_tempo[i]);
		}
	}
	if (longClick == 0) {
		for (int i = 20; i < 30; i++) {
			TIM2->ARR = underworld_melody[i];
			TIM2->CCR1 = TIM2->ARR / VOLUME;
			HAL_Delay(1500 / underworld_tempo[i]);
		}
	}
	if (longClick == 0) {
		for (int i = 30; i < underworld_length; i++) {
			TIM2->ARR = underworld_melody[i];
			TIM2->CCR1 = TIM2->ARR / VOLUME;
			HAL_Delay(1500 / underworld_tempo[i]);
		}
	}
	HAL_TIM_PWM_Stop(&htim2, TIM_CHANNEL_1);
}

//********************************************************** flash

static uint32_t GetSector(uint32_t Address) {
	uint32_t sector = 0;

	if ((Address < ADDR_FLASH_SECTOR_1) && (Address >= ADDR_FLASH_SECTOR_0)) {
		sector = FLASH_SECTOR_0;
	} else if ((Address < ADDR_FLASH_SECTOR_2)
			&& (Address >= ADDR_FLASH_SECTOR_1)) {
		sector = FLASH_SECTOR_1;
	} else if ((Address < ADDR_FLASH_SECTOR_3)
			&& (Address >= ADDR_FLASH_SECTOR_2)) {
		sector = FLASH_SECTOR_2;
	} else if ((Address < ADDR_FLASH_SECTOR_4)
			&& (Address >= ADDR_FLASH_SECTOR_3)) {
		sector = FLASH_SECTOR_3;
	} else if ((Address < ADDR_FLASH_SECTOR_5)
			&& (Address >= ADDR_FLASH_SECTOR_4)) {
		sector = FLASH_SECTOR_4;
	} else if ((Address < ADDR_FLASH_SECTOR_6)
			&& (Address >= ADDR_FLASH_SECTOR_5)) {
		sector = FLASH_SECTOR_5;
	} else if ((Address < ADDR_FLASH_SECTOR_7)
			&& (Address >= ADDR_FLASH_SECTOR_6)) {
		sector = FLASH_SECTOR_6;
	} else if ((Address < ADDR_FLASH_SECTOR_8)
			&& (Address >= ADDR_FLASH_SECTOR_7)) {
		sector = FLASH_SECTOR_7;
	} else if ((Address < ADDR_FLASH_SECTOR_9)
			&& (Address >= ADDR_FLASH_SECTOR_8)) {
		sector = FLASH_SECTOR_8;
	} else if ((Address < ADDR_FLASH_SECTOR_10)
			&& (Address >= ADDR_FLASH_SECTOR_9)) {
		sector = FLASH_SECTOR_9;
	} else if ((Address < ADDR_FLASH_SECTOR_11)
			&& (Address >= ADDR_FLASH_SECTOR_10)) {
		sector = FLASH_SECTOR_10;
	} else if ((Address < ADDR_FLASH_SECTOR_12)
			&& (Address >= ADDR_FLASH_SECTOR_11)) {
		sector = FLASH_SECTOR_11;
	} else if ((Address < ADDR_FLASH_SECTOR_13)
			&& (Address >= ADDR_FLASH_SECTOR_12)) {
		sector = FLASH_SECTOR_12;
	} else if ((Address < ADDR_FLASH_SECTOR_14)
			&& (Address >= ADDR_FLASH_SECTOR_13)) {
		sector = FLASH_SECTOR_13;
	} else if ((Address < ADDR_FLASH_SECTOR_15)
			&& (Address >= ADDR_FLASH_SECTOR_14)) {
		sector = FLASH_SECTOR_14;
	} else if ((Address < ADDR_FLASH_SECTOR_16)
			&& (Address >= ADDR_FLASH_SECTOR_15)) {
		sector = FLASH_SECTOR_15;
	} else if ((Address < ADDR_FLASH_SECTOR_17)
			&& (Address >= ADDR_FLASH_SECTOR_16)) {
		sector = FLASH_SECTOR_16;
	} else if ((Address < ADDR_FLASH_SECTOR_18)
			&& (Address >= ADDR_FLASH_SECTOR_17)) {
		sector = FLASH_SECTOR_17;
	} else if ((Address < ADDR_FLASH_SECTOR_19)
			&& (Address >= ADDR_FLASH_SECTOR_18)) {
		sector = FLASH_SECTOR_18;
	} else if ((Address < ADDR_FLASH_SECTOR_20)
			&& (Address >= ADDR_FLASH_SECTOR_19)) {
		sector = FLASH_SECTOR_19;
	} else if ((Address < ADDR_FLASH_SECTOR_21)
			&& (Address >= ADDR_FLASH_SECTOR_20)) {
		sector = FLASH_SECTOR_20;
	} else if ((Address < ADDR_FLASH_SECTOR_22)
			&& (Address >= ADDR_FLASH_SECTOR_21)) {
		sector = FLASH_SECTOR_21;
	} else if ((Address < ADDR_FLASH_SECTOR_23)
			&& (Address >= ADDR_FLASH_SECTOR_22)) {
		sector = FLASH_SECTOR_22;
	} else /* (Address < FLASH_END_ADDR) && (Address >= ADDR_FLASH_SECTOR_23) */
	{
		sector = FLASH_SECTOR_23;
	}
	return sector;
}

void PlayToAlarm(){
	if(melody_number == 1)
		Bicyclemelody();
	else if(melody_number == 2)
		underworld();
}
void SetUpflash() {

	flashTime.alarmFormat = at.f;
	flashTime.alarmHour = at.h;
	flashTime.alarmMinutes = at.m;
	flashTime.alarmSeconds = at.s;

	HAL_FLASH_Unlock();

	if (HAL_FLASHEx_Erase(&EraseInitStruct, &SECTORError) != HAL_OK) {

	}

	HAL_FLASH_Program(FLASH_TYPEPROGRAM_WORD, ((uint32_t) 0x08100014),
			flashTime.alarmFormat);

	HAL_FLASH_Program(FLASH_TYPEPROGRAM_WORD, ((uint32_t) 0x08100018),
			flashTime.alarmHour);

	HAL_FLASH_Program(FLASH_TYPEPROGRAM_WORD, ((uint32_t) 0x0810001C),
			flashTime.alarmMinutes);

	HAL_FLASH_Program(FLASH_TYPEPROGRAM_WORD, ((uint32_t) 0x08100020),
			flashTime.alarmSeconds);

	HAL_FLASH_Program(FLASH_TYPEPROGRAM_WORD, ((uint32_t) 0x08100024),
			alarmMode );

	HAL_FLASH_Program(FLASH_TYPEPROGRAM_WORD, ((uint32_t) 0x08100028),
			melody_number );

	HAL_FLASH_Lock();

}

/* USER CODE END 4 */

void Error_Handler(void)
{
	__disable_irq();
	while (1) {
	}
}
